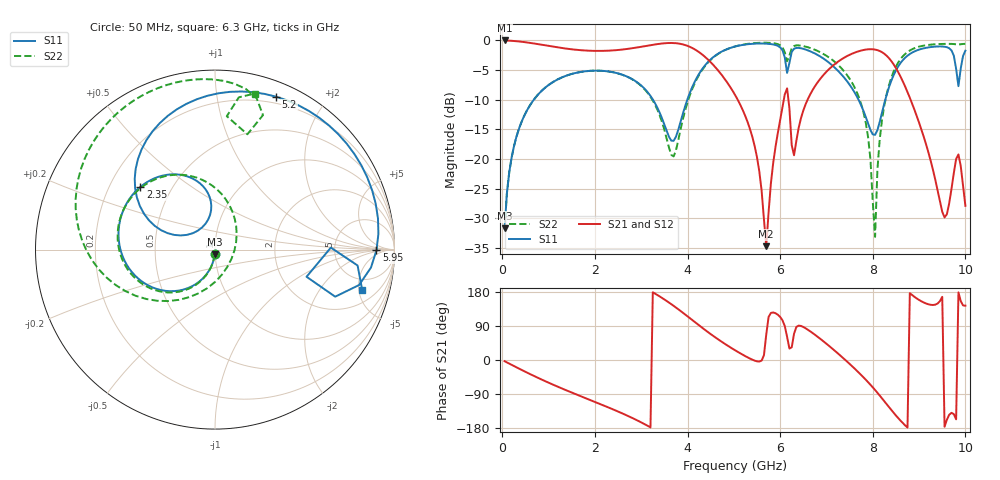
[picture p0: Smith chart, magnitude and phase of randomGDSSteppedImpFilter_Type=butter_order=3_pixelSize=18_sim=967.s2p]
! freq	dB(S11)	phase(S11)	dB(S12)	phase(S12)
!  dB(S21)	phase(S21)	dB(S22)	phase(S22)
!S-par simulation data
#  GHz  S  DB  R 50
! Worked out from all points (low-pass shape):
!   200 points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, 50 MHz to 10 GHz, reference 50 ohm
!   highest |S21| = -0.01 dB at 50 MHz (marker M1); lowest = -34.7 dB at 5.7 GHz (marker M2)
!   |S21| within 3 dB of the highest: start of sweep to 4.411 GHz; 7.361 GHz to 8.351 GHz (990.1 MHz wide, 12.6 % of centre)
!   lowest |S11| = -31.7 dB at 50 MHz (marker M3), VSWR 1.05, Z = 49.8 - j2.59 ohm
!   |S11| at or under -10 dB: start of sweep to 681.2 MHz; 3.254 GHz to 3.995 GHz (741.4 MHz wide, 20.5 % of centre); 7.692 GHz to 8.27 GHz (578.3 MHz wide, 7.25 % of centre)
!   |S22| runs from -33.1 to -0.4 dB; largest |S21 - S12| = 0
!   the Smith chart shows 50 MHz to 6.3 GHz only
!   S11 on the Smith chart (normalised r, x): 50 MHz: 1.00, -0.05; 2.35 GHz: 0.33, +0.33; 5.2 GHz: 0.14, +1.47; 5.95 GHz: 19, -1; 6.3 GHz: 3.35, -5.42
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0.05  -31.70 -93.3  -0.01 -3.2  -0.01 -3.2  -31.70 -93.2
0.5  -12.29 -122.3  -0.31 -31.2  -0.31 -31.2  -12.29 -121.2
1.75  -5.25 169.5  -1.68 -98.3  -1.68 -98.3  -5.24 172.9
2.35  -5.30 140.0  -1.70 -128.1  -1.70 -128.1  -5.31 143.2
3.4  -12.22 94.8  -0.57 167.6  -0.57 167.6  -12.66 65.4
3.7  -16.92 132.4  -0.44 142.9  -0.44 142.9  -19.56 -28.8
4.1  -7.89 156.1  -1.27 105.7  -1.27 105.7  -8.22 -132.3
5.05  -0.98 80.5  -9.52 24.0  -9.52 24.0  -0.96 141.8
5.2  -0.75 68.2  -11.88 13.4  -11.88 13.4  -0.70 131.7
5.7  -0.55 25.4  -34.69 67.3  -34.69 67.3  -0.39 100.2
5.95  -0.92 -0.2  -15.59 119.5  -15.59 119.5  -0.63 83.2
6.15  -5.48 -16.5  -8.08 60.9  -8.08 60.9  -3.51 74.3
6.3  -1.41 -15.3  -19.36 69.3  -19.36 69.3  -0.94 75.7
6.7  -2.01 -67.7  -8.38 71.3  -8.38 71.3  -1.42 46.2
7.25  -5.13 -143.2  -3.58 17.1  -3.58 17.1  -4.12 10.9
7.75  -10.96 146.1  -1.70 -39.6  -1.70 -39.6  -10.72 -23.4
8.05  -15.91 152.4  -1.54 -79.2  -1.54 -79.2  -33.11 175.9
8.35  -7.90 153.0  -2.99 -124.2  -2.99 -124.2  -7.54 100.0
8.9  -1.86 77.1  -11.69 166.6  -11.69 166.6  -1.31 42.3
9.55  -1.06 12.5  -29.83 -176.2  -29.83 -176.2  -0.58 2.5
9.75  -2.56 -12.4  -22.36 -142.8  -22.36 -142.8  -0.61 -7.0
10  -1.73 8.7  -27.89 143.3  -27.89 143.3  -0.57 -16.5
